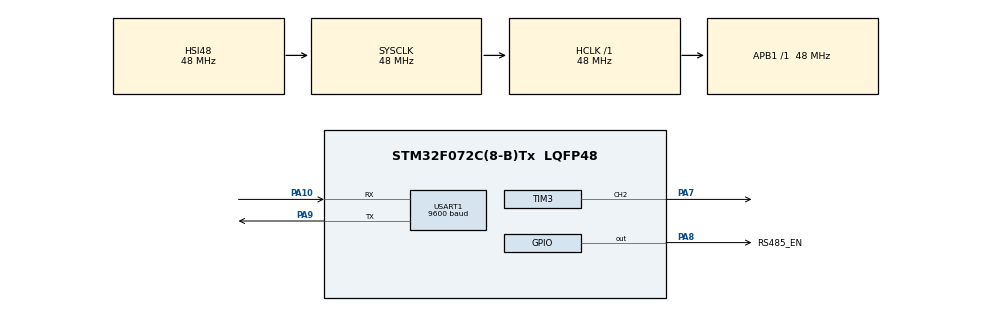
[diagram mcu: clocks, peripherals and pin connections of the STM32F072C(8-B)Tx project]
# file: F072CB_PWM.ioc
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Dma.Request0=USART1_RX
Dma.Request1=USART1_TX
Dma.USART1_RX.0.Direction=DMA_PERIPH_TO_MEMORY
Dma.USART1_RX.0.Instance=DMA1_Channel3
Dma.USART1_RX.0.MemDataAlignment=DMA_MDATAALIGN_BYTE
Dma.USART1_RX.0.MemInc=DMA_MINC_ENABLE
Dma.USART1_RX.0.Mode=DMA_CIRCULAR
Dma.USART1_RX.0.PeriphDataAlignment=DMA_PDATAALIGN_BYTE
Dma.USART1_RX.0.PeriphInc=DMA_PINC_DISABLE
Dma.USART1_RX.0.Priority=DMA_PRIORITY_MEDIUM
Dma.USART1_TX.1.Direction=DMA_MEMORY_TO_PERIPH
Dma.USART1_TX.1.Instance=DMA1_Channel2
Dma.USART1_TX.1.MemDataAlignment=DMA_MDATAALIGN_BYTE
Dma.USART1_TX.1.MemInc=DMA_MINC_ENABLE
Dma.USART1_TX.1.Mode=DMA_NORMAL
Dma.USART1_TX.1.PeriphDataAlignment=DMA_PDATAALIGN_BYTE
Dma.USART1_TX.1.PeriphInc=DMA_PINC_DISABLE
Dma.USART1_TX.1.Priority=DMA_PRIORITY_MEDIUM
Mcu.Family=STM32F0
Mcu.Name=STM32F072C(8-B)Tx
Mcu.Package=LQFP48
NVIC.DMA1_Channel2_3_IRQn=true\:0\:0\:false\:false\:true\:false\:true
NVIC.USART1_IRQn=true\:0\:0\:false\:false\:true\:true\:true
PA10.Mode=Asynchronous
PA10.Signal=USART1_RX
PA13.Mode=Serial_Wire
PA13.Signal=SYS_SWDIO
PA14.Mode=Serial_Wire
PA14.Signal=SYS_SWCLK
PA7.Signal=S_TIM3_CH2
PA8.GPIO_Label=RS485_EN
PA8.PinState=GPIO_PIN_RESET
PA8.Signal=GPIO_Output
PA9.Mode=Asynchronous
PA9.Signal=USART1_TX
ProjectManager.HeapSize=0x200
ProjectManager.StackSize=0x400
ProjectManager.TargetToolchain=MDK-ARM V5
RCC.AHBFreq_Value=48000000
RCC.APB1Freq_Value=48000000
RCC.APB1TimFreq_Value=48000000
RCC.HCLKFreq_Value=48000000
RCC.SYSCLKFreq_VALUE=48000000
RCC.SYSCLKSource=RCC_SYSCLKSOURCE_HSI48
SH.S_TIM3_CH2.0=TIM3_CH2,PWM Generation2 CH2
TIM3.Channel-PWM\ Generation2\ CH2=TIM_CHANNEL_2
TIM3.Period=1000
TIM3.Pulse-PWM\ Generation2\ CH2=500
USART1.BaudRate=9600
USART1.VirtualMode-Asynchronous=VM_ASYNC
VP_TIM3_VS_ClockSourceINT.Mode=Internal
board=custom

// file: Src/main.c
/* USER CODE BEGIN Header */
/**
  ******************************************************************************
  * @file           : main.c
  * @brief          : Main program body
  ******************************************************************************
  * @attention
  *
  * <h2><center>&copy; Copyright (c) 2020 STMicroelectronics.
  * All rights reserved.</center></h2>
  *
  * This software component is licensed by ST under BSD 3-Clause license,
  * the "License"; You may not use this file except in compliance with the
  * License. You may obtain a copy of the License at:
  *                        opensource.org/licenses/BSD-3-Clause
  *
  ******************************************************************************
  */
/* USER CODE END Header */

#include "main.h"
#include "dma.h"
#include "tim.h"
#include "usart.h"
#include "gpio.h"

/* USER CODE BEGIN Includes */
#include "Picocap.h"
#include "Calculation.h"
#include "string.h"
#include "stdio.h"
/* USER CODE END Includes */

/* USER CODE BEGIN PTD */
extern TIM_HandleTypeDef htim3;
/* USER CODE END PTD */

void SystemClock_Config(void);

/* USER CODE BEGIN 0 */
uint32_t PCap_buf[2];
uint32_t Period=9000;
uint8_t UART_BUF[200],i=0;
uint32_t  altit;

#define APPLICATION_ADDRESS     (uint32_t)0x08003000

#define VECTOR_TABLE_SIZE       48 * 4

#if   (defined ( __CC_ARM ))
__IO uint32_t VectorTable[48] __attribute__((at(0x20000000)));
#elif (defined (__ICCARM__))
#pragma location = 0x20000000
__no_init __IO uint32_t VectorTable[48];
#elif defined   (  __GNUC__  )
__IO uint32_t VectorTable[48] __attribute__((section(".RAMVectorTable")));
#endif // (defined ( __CC_ARM ))

/* USER CODE END 0 */

int main(void)
{
  /* USER CODE BEGIN 1 */
    /* F0系列没有中断向量表重映射寄存器，所以，这里使用另一种方法：拷贝中断向量表到
    0x20000000开始的内存空间中，再将这个内存地址到0x00000000，完成中断向量表的重映射 */
    memcpy((void*)VectorTable, (void*)APPLICATION_ADDRESS, VECTOR_TABLE_SIZE);
    /* 将系统内存映射到0x00000000 */
    __HAL_SYSCFG_REMAPMEMORY_SRAM();

  /* USER CODE END 1 */

  /* MCU Configuration--------------------------------------------------------*/

  /* Reset of all peripherals, Initializes the Flash interface and the Systick. */
  HAL_Init();

  /* Configure the system clock */
  SystemClock_Config();

  /* Initialize all configured peripherals */
  MX_GPIO_Init();
  MX_DMA_Init();
  MX_TIM3_Init();
  MX_USART1_UART_Init();
  /* USER CODE BEGIN 2 */
	PCap_Init();
	uint32_t SegmentValue[11]={1071364,1259417,1386342,1480923,1588943,1678879,1778879,1878879,1978879,2078879,2178879};	//11个段点对应的电容值
	uint16_t altitude[11]={0,167,335,435,535,635,735,835,935,1023,1112};	//11段点的高度
	uint16_t frequency[11]={5910,5457,5000,4690,4380,4110,3840,3630,3420,3152,2881};	//11个点频率
	parameter_init(SegmentValue,altitude,frequency);

	HAL_GPIO_WritePin(RS485_EN_GPIO_Port, RS485_EN_Pin,GPIO_PIN_SET);

	FrequencyCalibration(4800);		 //pwm频率校准

	//等待稳定
	{
        uint8_t i=0;
        for(i = 0;i < 22; i++)
        {
			Sensor_PCap_GetResult(RESULT_REG1_ADDR,&PCap_buf[0],1);
            PCap_ChangeTheFrequency(PCap_buf[0],&Period,&PCap_buf[1],&altit);
            HAL_Delay(120);
        }
    }
	HAL_TIM_PWM_Start(&htim3, TIM_CHANNEL_2);
	__HAL_TIM_SET_COMPARE(&htim3, TIM_CHANNEL_2,Period/2);
	__HAL_TIM_SET_AUTORELOAD(&htim3,Period);
  /* USER CODE END 2 */

  /* Infinite loop */
  while (1)
  {

    /* USER CODE BEGIN 3 */
	Sensor_PCap_GetResult(RESULT_REG1_ADDR,&PCap_buf[0],1);				//读取电容值
	altitude[0] =   PCap_ChangeTheFrequency(PCap_buf[0],&Period,&PCap_buf[1],&altit);		//滤波计算
	HAL_Delay(200);
	altitude[1] = get_hz();

	//输出pwm
	if(i % 2 == 0)
	{
		__HAL_TIM_SET_COMPARE(&htim3, TIM_CHANNEL_2,Period/2);
		__HAL_TIM_SET_AUTORELOAD(&htim3,Period);
	}

	if(i > 5)
	{
		sprintf((char*)UART_BUF,"高度：%d     滤波后电容值：%d    hz=%d\n",altit,PCap_buf[1],altitude[1]);
		HAL_UART_Transmit_DMA(&huart1,UART_BUF, 80);
		i = 0;
	}
	i++;
  }
  /* USER CODE END 3 */
}

void SystemClock_Config(void)
{
  RCC_OscInitTypeDef RCC_OscInitStruct = {0};
  RCC_ClkInitTypeDef RCC_ClkInitStruct = {0};
  RCC_PeriphCLKInitTypeDef PeriphClkInit = {0};

  /** Initializes the CPU, AHB and APB busses clocks
  */
  RCC_OscInitStruct.OscillatorType = RCC_OSCILLATORTYPE_HSI48;
  RCC_OscInitStruct.HSI48State = RCC_HSI48_ON;
  RCC_OscInitStruct.PLL.PLLState = RCC_PLL_NONE;
  if (HAL_RCC_OscConfig(&RCC_OscInitStruct) != HAL_OK)
  {
    Error_Handler();
  }
  /** Initializes the CPU, AHB and APB busses clocks
  */
  RCC_ClkInitStruct.ClockType = RCC_CLOCKTYPE_HCLK|RCC_CLOCKTYPE_SYSCLK
                              |RCC_CLOCKTYPE_PCLK1;
  RCC_ClkInitStruct.SYSCLKSource = RCC_SYSCLKSOURCE_HSI48;
  RCC_ClkInitStruct.AHBCLKDivider = RCC_SYSCLK_DIV1;
  RCC_ClkInitStruct.APB1CLKDivider = RCC_HCLK_DIV1;

  if (HAL_RCC_ClockConfig(&RCC_ClkInitStruct, FLASH_LATENCY_1) != HAL_OK)
  {
    Error_Handler();
  }
  PeriphClkInit.PeriphClockSelection = RCC_PERIPHCLK_USART1;
  PeriphClkInit.Usart1ClockSelection = RCC_USART1CLKSOURCE_PCLK1;
  if (HAL_RCCEx_PeriphCLKConfig(&PeriphClkInit) != HAL_OK)
  {
    Error_Handler();
  }
}

void Error_Handler(void)
{
}

/************************ (C) COPYRIGHT STMicroelectronics *****END OF FILE****/
